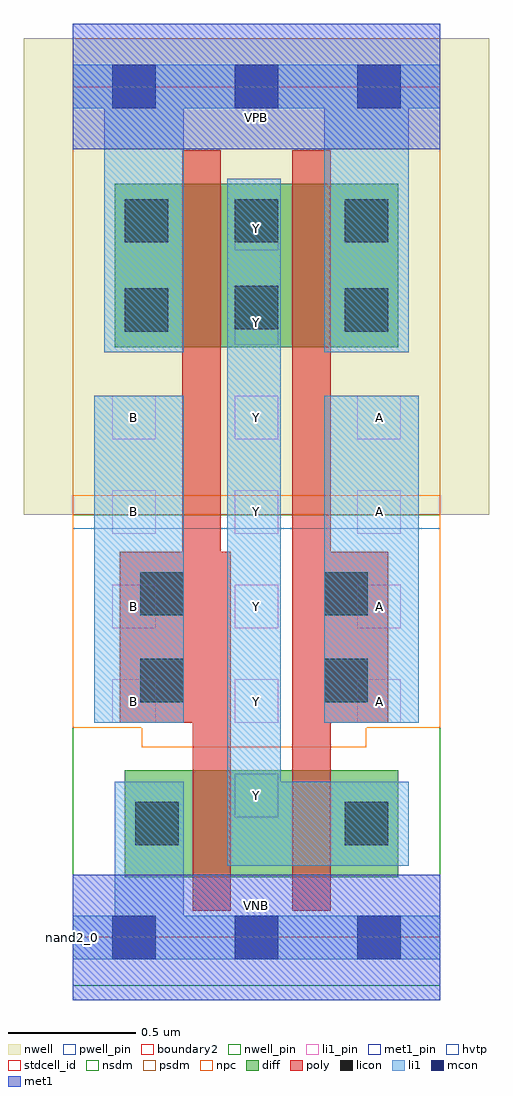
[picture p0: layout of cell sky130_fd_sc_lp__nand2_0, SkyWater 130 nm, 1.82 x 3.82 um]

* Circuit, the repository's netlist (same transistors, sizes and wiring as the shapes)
* Copyright 2020 The SkyWater PDK Authors
*
* Licensed under the Apache License, Version 2.0 (the "License");
* you may not use this file except in compliance with the License.
* You may obtain a copy of the License at
*
*     https://www.apache.org/licenses/LICENSE-2.0
*
* Unless required by applicable law or agreed to in writing, software
* distributed under the License is distributed on an "AS IS" BASIS,
* WITHOUT WARRANTIES OR CONDITIONS OF ANY KIND, either express or implied.
* See the License for the specific language governing permissions and
* limitations under the License.
*
* SPDX-License-Identifier: Apache-2.0

.SUBCKT sky130_fd_sc_lp__nand2_0 A B VGND VNB VPB VPWR Y
*.PININFO A:I B:I VGND:I VNB:I VPB:I VPWR:I Y:O
MMP0 Y A VPWR VPB sky130_fd_pr__pfet_01v8_hvt m=1 w=0.64U l=0.15U mult=1 sa=0.265
+ sb=0.265 sd=0.28 area=0.063 perim=1.14
MMP1 Y B VPWR VPB sky130_fd_pr__pfet_01v8_hvt m=1 w=0.64U l=0.15U mult=1 sa=0.265
+ sb=0.265 sd=0.28 area=0.063 perim=1.14
MMN0 Y A sndA VNB sky130_fd_pr__nfet_01v8 m=1 w=0.42U l=0.15U mult=1 sa=0.265 sb=0.265
+ sd=0.28 area=0.063 perim=1.14
MMN1 sndA B VGND VNB sky130_fd_pr__nfet_01v8 m=1 w=0.42U l=0.15U mult=1 sa=0.265
+ sb=0.265 sd=0.28 area=0.063 perim=1.14
.ENDS sky130_fd_sc_lp__nand2_0

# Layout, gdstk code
import gdstk
lib = gdstk.Library(unit=1e-6, precision=1e-09)
def R(c, l, rs):  # rectangles x0, y0, x1, y1
    for r in rs: c.add(gdstk.rectangle(r[:2], r[2:], *l))
def A(c, l, x, y, w, h, nx, ny, dx, dy):  # array of equal rectangles
    R(c, l, [(x+i*dx, y+j*dy, x+i*dx+w, y+j*dy+h) for i in range(nx) for j in range(ny)])
def P(c, l, *ps):  # polygons
    for p in ps: c.add(gdstk.Polygon(p, *l))
nwell_pin = (64, 16)
nwell = (64, 20)
diff = (65, 20)
poly = (66, 20)
licon = (66, 44)
li1_pin = (67, 16)
li1 = (67, 20)
mcon = (67, 44)
met1_pin = (68, 16)
met1 = (68, 20)
hvtp = (78, 44)
stdcell_id = (81, 4)
nsdm = (93, 44)
psdm = (94, 20)
npc = (95, 20)
pwell_pin = (122, 16)
boundary2 = (236, 0)

sky130_fd_sc_lp__nand2_0 = lib.new_cell('sky130_fd_sc_lp__nand2_0')
R(sky130_fd_sc_lp__nand2_0, nwell_pin, [(0,3.085,1.44,3.33)])
R(sky130_fd_sc_lp__nand2_0, nwell, [(-0.19,1.655,1.63,3.52)])
R(sky130_fd_sc_lp__nand2_0, diff, [(0.205,0.235,1.275,0.655), (0.165,2.31,1.275,2.95)])
P(sky130_fd_sc_lp__nand2_0, poly, [(0.62,1.51),(0.58,1.51),(0.58,3.08),(0.43,3.08),(0.43,1.51),(0.185,1.51),(0.185,0.84),(0.47,0.84),(0.47,0.105),(0.62,0.105)],
  [(1.235,1.51),(1.01,1.51),(1.01,3.08),(0.86,3.08),(0.86,0.105),(1.01,0.105),(1.01,0.84),(1.235,0.84)])
A(sky130_fd_sc_lp__nand2_0, licon, 0.205, 2.72, 0.17, 0.17, 3, 1, 0.43, 0)
R(sky130_fd_sc_lp__nand2_0, licon, [(0.245,0.36,0.415,0.53), (1.065,0.36,1.235,0.53), (0.265,0.92,0.435,1.09), (0.985,0.92,1.155,1.09), (0.265,1.26,0.435,1.43), (0.985,1.26,1.155,1.43), (0.205,2.37,0.375,2.54), (1.065,2.37,1.235,2.54), (0.635,2.38,0.805,2.55)])
A(sky130_fd_sc_lp__nand2_0, li1_pin, 0.155, 0.84, 0.17, 0.17, 3, 4, 0.48, 0.37)
R(sky130_fd_sc_lp__nand2_0, li1_pin, [(0.635,0.47,0.805,0.64), (0.635,2.32,0.805,2.49), (0.635,2.69,0.805,2.86)])
R(sky130_fd_sc_lp__nand2_0, li1, [(0.085,0.84,0.435,2.12), (0.985,0.84,1.355,2.12)])
P(sky130_fd_sc_lp__nand2_0, li1, [(0.985,2.29),(0.985,3.245),(0.435,3.245),(0.435,2.29),(0.125,2.29),(0.125,3.245),(0,3.245),(0,3.415),(1.44,3.415),(1.44,3.245),(1.315,3.245),(1.315,2.29)],
  [(0.165,0.085),(0.165,0.61),(0.435,0.61),(0.435,0.085),(1.44,0.085),(1.44,-0.085),(0,-0.085),(0,0.085)],
  [(0.605,2.97),(0.815,2.97),(0.815,0.61),(1.315,0.61),(1.315,0.28),(0.605,0.28)])
A(sky130_fd_sc_lp__nand2_0, mcon, 0.155, -0.085, 0.17, 0.17, 3, 2, 0.48, 3.33)
R(sky130_fd_sc_lp__nand2_0, met1_pin, [(0,0,1.44,0.245), (0,3.085,1.44,3.33)])
R(sky130_fd_sc_lp__nand2_0, met1, [(0,-0.245,1.44,0.245), (0,3.085,1.44,3.575)])
R(sky130_fd_sc_lp__nand2_0, hvtp, [(0,1.6,1.44,3.33)])
R(sky130_fd_sc_lp__nand2_0, stdcell_id, [(0,0,1.44,3.33)])
R(sky130_fd_sc_lp__nand2_0, nsdm, [(0,-0.19,1.44,1.655)])
R(sky130_fd_sc_lp__nand2_0, psdm, [(0,1.655,1.44,3.52)])
P(sky130_fd_sc_lp__nand2_0, npc, [(1.44,1.73),(0,1.73),(0,0.82),(0.27,0.82),(0.27,0.745),(1.15,0.745),(1.15,0.82),(1.44,0.82)])
R(sky130_fd_sc_lp__nand2_0, pwell_pin, [(0,0,1.44,0.245)])
R(sky130_fd_sc_lp__nand2_0, boundary2, [(0,0,1.44,3.33)])
sky130_fd_sc_lp__nand2_0.add(gdstk.Label('VNB', (0.72,0.123), layer=64, texttype=59))
sky130_fd_sc_lp__nand2_0.add(gdstk.Label('VPB', (0.72,3.208), layer=64, texttype=5))
sky130_fd_sc_lp__nand2_0.add(gdstk.Label('nand2_0', (0,0), layer=83, texttype=44))
sky130_fd_sc_lp__nand2_0.add(gdstk.Label('VPWR', (0.72,3.208), layer=68, texttype=5))
sky130_fd_sc_lp__nand2_0.add(gdstk.Label('VGND', (0.72,0.123), layer=68, texttype=5))
sky130_fd_sc_lp__nand2_0.add(gdstk.Label('A', (1.2,0.925), layer=67, texttype=5))
sky130_fd_sc_lp__nand2_0.add(gdstk.Label('A', (1.2,1.295), layer=67, texttype=5))
sky130_fd_sc_lp__nand2_0.add(gdstk.Label('A', (1.2,1.665), layer=67, texttype=5))
sky130_fd_sc_lp__nand2_0.add(gdstk.Label('A', (1.2,2.035), layer=67, texttype=5))
sky130_fd_sc_lp__nand2_0.add(gdstk.Label('Y', (0.72,0.555), layer=67, texttype=5))
sky130_fd_sc_lp__nand2_0.add(gdstk.Label('Y', (0.72,0.925), layer=67, texttype=5))
sky130_fd_sc_lp__nand2_0.add(gdstk.Label('Y', (0.72,1.295), layer=67, texttype=5))
sky130_fd_sc_lp__nand2_0.add(gdstk.Label('Y', (0.72,1.665), layer=67, texttype=5))
sky130_fd_sc_lp__nand2_0.add(gdstk.Label('Y', (0.72,2.035), layer=67, texttype=5))
sky130_fd_sc_lp__nand2_0.add(gdstk.Label('Y', (0.72,2.405), layer=67, texttype=5))
sky130_fd_sc_lp__nand2_0.add(gdstk.Label('Y', (0.72,2.775), layer=67, texttype=5))
sky130_fd_sc_lp__nand2_0.add(gdstk.Label('B', (0.24,0.925), layer=67, texttype=5))
sky130_fd_sc_lp__nand2_0.add(gdstk.Label('B', (0.24,1.295), layer=67, texttype=5))
sky130_fd_sc_lp__nand2_0.add(gdstk.Label('B', (0.24,1.665), layer=67, texttype=5))
sky130_fd_sc_lp__nand2_0.add(gdstk.Label('B', (0.24,2.035), layer=67, texttype=5))

lib.write_gds('sky130_fd_sc_lp__nand2_0.gds')
